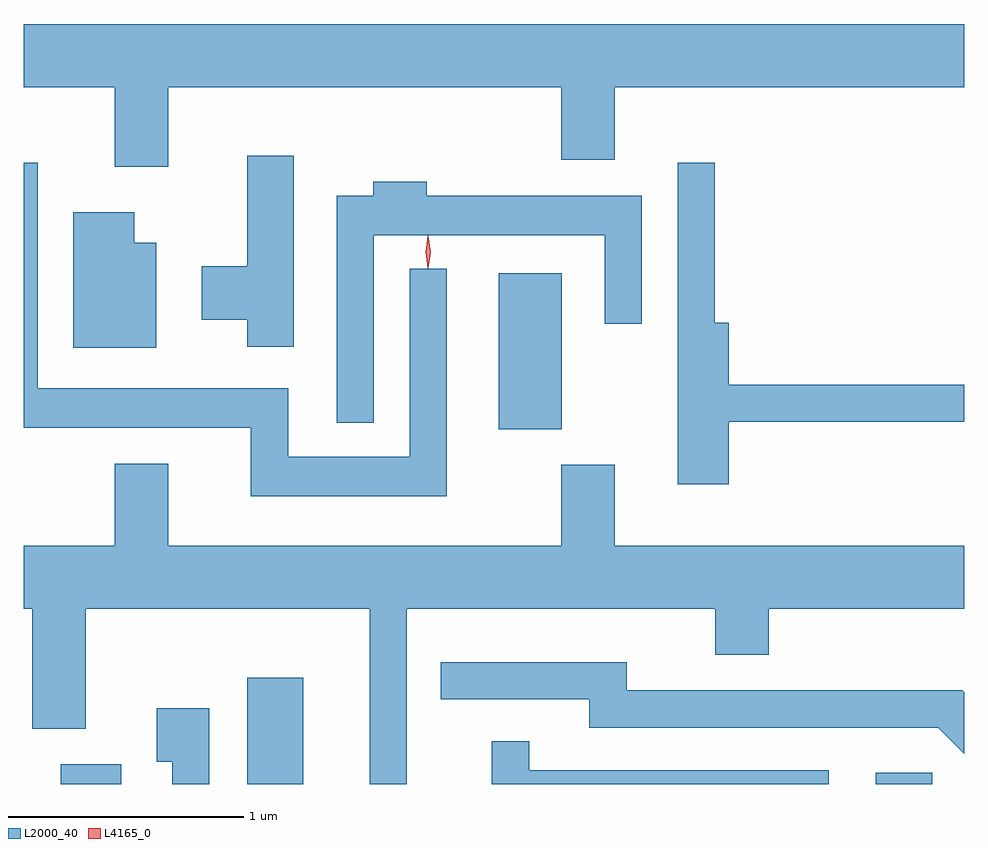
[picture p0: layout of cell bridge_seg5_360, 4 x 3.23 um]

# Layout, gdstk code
import gdstk
lib = gdstk.Library(unit=1e-6, precision=1e-09)
def R(c, l, rs):  # rectangles x0, y0, x1, y1
    for r in rs: c.add(gdstk.rectangle(r[:2], r[2:], *l))
def P(c, l, *ps):  # polygons
    for p in ps: c.add(gdstk.Polygon(p, *l))
L2000_40 = (2000, 40)
L4165_0 = (4165, 0)

bridge_seg5_360 = lib.new_cell('bridge_seg5_360')
R(bridge_seg5_360, L2000_40, [(398.761,1487.131,399.019,1487.214), (399.556,1487.131,399.794,1487.584), (402.228,1487.131,402.469,1487.179), (400.626,1488.641,400.894,1489.304)])
P(bridge_seg5_360, L2000_40, [(399.219,1490.096),(400.891,1490.096),(400.891,1489.786),(401.119,1489.786),(401.119,1490.096),(402.605,1490.096),(402.605,1490.364),(398.605,1490.364),(398.605,1490.096),(398.991,1490.096),(398.991,1489.756),(399.219,1489.756)],
  [(399.754,1489.804),(399.556,1489.804),(399.556,1489.334),(399.361,1489.334),(399.361,1489.106),(399.556,1489.106),(399.556,1488.991),(399.754,1488.991)],
  [(400.404,1489.323),(400.246,1489.323),(400.246,1488.524),(399.729,1488.524),(399.729,1488.814),(398.664,1488.814),(398.664,1489.773),(398.605,1489.773),(398.605,1488.646),(399.571,1488.646),(399.571,1488.356),(400.404,1488.356)],
  [(401.604,1488.671),(402.605,1488.671),(402.605,1488.829),(401.604,1488.829),(401.604,1489.094),(401.544,1489.094),(401.544,1489.773),(401.386,1489.773),(401.386,1488.406),(401.604,1488.406)],
  [(400.094,1489.466),(401.076,1489.466),(401.076,1489.088),(401.234,1489.088),(401.234,1489.634),(400.319,1489.634),(400.319,1489.694),(400.091,1489.694),(400.091,1489.634),(399.936,1489.634),(399.936,1488.668),(400.094,1488.668)],
  [(399.169,1489.434),(399.074,1489.434),(399.074,1489.564),(398.816,1489.564),(398.816,1488.986),(399.169,1488.986)],
  [(400.234,1487.876),(401.546,1487.876),(401.546,1487.681),(401.774,1487.681),(401.774,1487.876),(402.605,1487.876),(402.605,1488.144),(401.119,1488.144),(401.119,1488.489),(400.891,1488.489),(400.891,1488.144),(399.219,1488.144),(399.219,1488.494),(398.991,1488.494),(398.991,1488.144),(398.605,1488.144),(398.605,1487.876),(398.641,1487.876),(398.641,1487.366),(398.869,1487.366),(398.869,1487.876),(400.076,1487.876),(400.076,1487.131),(400.234,1487.131)],
  [(402.605,1487.521),(402.597,1487.529),(401.169,1487.529),(401.169,1487.649),(400.378,1487.649),(400.378,1487.491),(401.011,1487.491),(401.011,1487.371),(402.494,1487.371),(402.605,1487.26)],
  [(399.394,1487.454),(399.171,1487.454),(399.171,1487.226),(399.236,1487.226),(399.236,1487.131),(399.394,1487.131)],
  [(402.028,1487.189),(400.754,1487.189),(400.754,1487.313),(400.596,1487.313),(400.596,1487.131),(402.028,1487.131)])
P(bridge_seg5_360, L4165_0, [(400.324,1489.324),(400.315,1489.394),(400.324,1489.463),(400.325,1489.463),(400.326,1489.463),(400.335,1489.394),(400.326,1489.324),(400.325,1489.324)],
  [(400.325,1489.327),(400.324,1489.328),(400.314,1489.394),(400.324,1489.46),(400.324,1489.46),(400.325,1489.46),(400.334,1489.394),(400.325,1489.328)])

lib.write_gds('bridge_seg5_360.gds')
